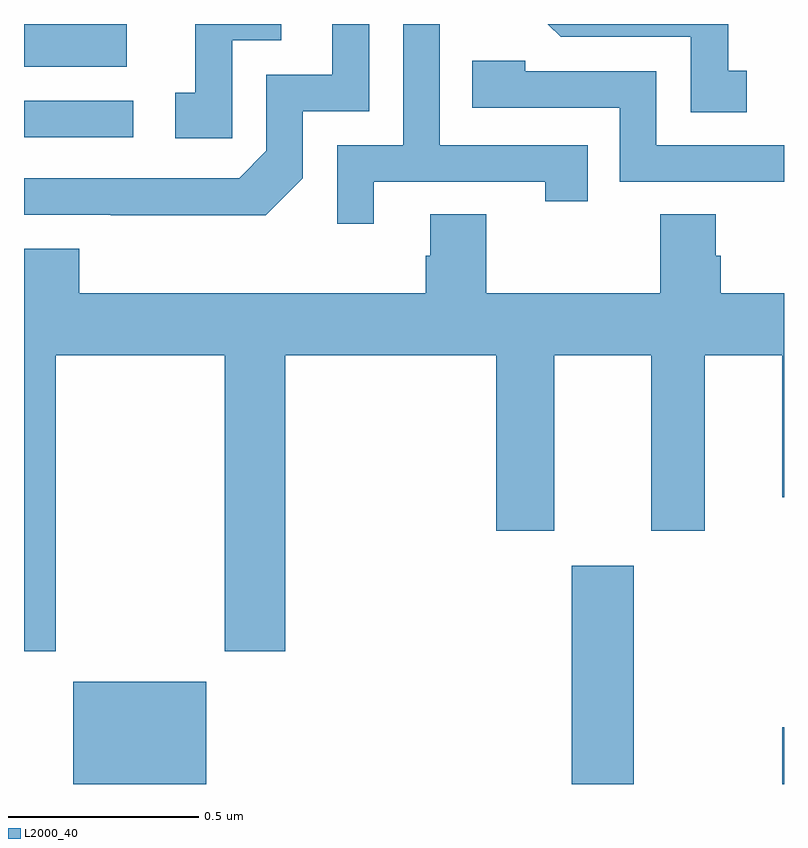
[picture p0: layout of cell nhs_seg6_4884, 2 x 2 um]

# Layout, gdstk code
import gdstk
lib = gdstk.Library(unit=1e-6, precision=1e-09)
def R(c, l, rs):  # rectangles x0, y0, x1, y1
    for r in rs: c.add(gdstk.rectangle(r[:2], r[2:], *l))
def P(c, l, *ps):  # polygons
    for p in ps: c.add(gdstk.Polygon(p, *l))
L2000_40 = (2000, 40)

nhs_seg6_4884 = lib.new_cell('nhs_seg6_4884')
R(nhs_seg6_4884, L2000_40, [(175.13,987.5,175.48,987.769), (176.441,987.5,176.605,988.075), (176.996,987.5,177,987.649), (175,989.202,175.288,989.298), (175,989.387,175.27,989.5)])
P(nhs_seg6_4884, L2000_40, [(176.902,989.377),(176.853,989.377),(176.853,989.5),(176.378,989.5),(176.412,989.466),(176.754,989.466),(176.754,989.268),(176.902,989.268)],
  [(175.921,989.085),(176.372,989.085),(176.372,989.034),(176.483,989.034),(176.483,989.181),(176.094,989.181),(176.094,989.5),(175.998,989.5),(175.998,989.181),(175.824,989.181),(175.824,988.974),(175.921,988.974)],
  [(175.734,989.094),(175.734,989.271),(175.908,989.271),(175.908,989.5),(175.811,989.5),(175.811,989.367),(175.638,989.367),(175.638,989.166),(175.566,989.094),(175,989.094),(175,988.998),(175.228,988.998),(175.228,988.997),(175.636,988.997)],
  [(175.548,989.457),(175.677,989.457),(175.677,989.5),(175.451,989.5),(175.451,989.319),(175.398,989.319),(175.398,989.199),(175.548,989.199)],
  [(177,989.181),(176.664,989.181),(176.664,989.376),(176.319,989.376),(176.319,989.403),(176.179,989.403),(176.179,989.28),(176.568,989.28),(176.568,989.085),(177,989.085)],
  [(175.083,988.628),(175.528,988.628),(175.528,987.849),(175.688,987.849),(175.688,988.628),(176.243,988.628),(176.243,988.167),(176.395,988.167),(176.395,988.628),(176.651,988.628),(176.651,988.167),(176.791,988.167),(176.791,988.628),(176.996,988.628),(176.996,988.254),(177,988.254),(177,988.792),(176.834,988.792),(176.834,988.89),(176.821,988.89),(176.821,989),(176.674,989),(176.674,988.792),(176.217,988.792),(176.217,989),(176.069,989),(176.069,988.89),(176.057,988.89),(176.057,988.792),(175.145,988.792),(175.145,988.909),(175,988.909),(175,987.849),(175.083,987.849)])

lib.write_gds('nhs_seg6_4884.gds')
